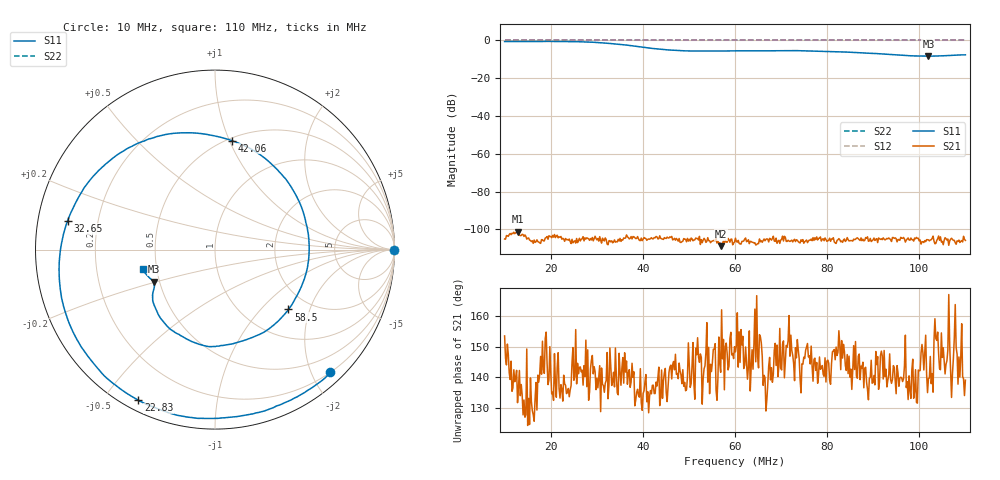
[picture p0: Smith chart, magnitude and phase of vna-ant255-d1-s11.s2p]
! Anritsu VNA Master:  Model: MS2034B/10/19/501
! SN:  1337062
! /bd0/ovro-jan-2016/vna-jan/vna-ant255-d1-s11-reallyd1.s2p
! Existing Calibration Information:
! TYPE:  Current Settings,  Active Cal Settings
! TIME:  01/13/2016 03:23:14 PM,  01/13/2016 02:51:14 PM
! INTERNAL TEMP:  34.5 C,  37.8 C
! # POINTS:  500,  500
! START FREQ:  10.000 MHz,  10.000 MHz
! STOP FREQ:  110.000 MHz,  110.000 MHz
! SOURCE POWER:  High,  High
! IFBW:  100 Hz,  100 Hz
! AVG FACTOR:  4 ,  4
! REF PLANE 1:  0 mm,  0 mm
! REF PLANE 2:  0 mm,  0 mm
! CAL TYPE:  Full S11,  Full S11
! CAL METHOD:  SOLT,  SOLT
! CAL LINE TYPE:  Coax,  Coax
! DUT PORT 1:  K-Conn(M),  K-Conn(M)
! DUT PORT 2:  N-Conn(M),  N-Conn(M)
! CAL STATUS:  OK: Accuracy High,  --
# GHZ S DB R 50.0
! FREQ.GHZ  S11DB  S11A  S21DB  S21A  S12DB  S12A  S22DB  S22A
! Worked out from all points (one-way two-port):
!   500 points, 10 MHz to 110 MHz, reference 50 ohm
!   highest |S21| = -101.30 dB at 12.81 MHz (marker M1); lowest = -108.9 dB at 56.89 MHz (marker M2)
!   lowest |S11| = -8.3 dB at 102 MHz (marker M3), VSWR 2.25, Z = 23.3 - j9.72 ohm
!   |S11| at or under -10 dB: nowhere
!   |S22| runs from 0.0 to 0.0 dB; largest |S21 - S12| = 1
!   S11 on the Smith chart (normalised r, x): 10 MHz: 0.20, -2.29; 22.83 MHz: 0.04, -0.61; 32.65 MHz: 0.09, +0.10; 42.06 MHz: 0.52, +1.02; 58.5 MHz: 1.57, -1.45; 110 MHz: 0.42, -0.11
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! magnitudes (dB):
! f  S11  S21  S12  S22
! 10 MHz  -0.6  -105.1  0.0  0.0
! 12.81 MHz  -0.5  -101.3  0.0  0.0
! 22.83 MHz  -0.5  -105.1  0.0  0.0
! 26.83 MHz  -0.7  -105.0  0.0  0.0
! 29.24 MHz  -1.0  -106.1  0.0  0.0
! 32.65 MHz  -1.5  -106.0  0.0  0.0
! 36.45 MHz  -2.4  -103.0  0.0  0.0
! 42.06 MHz  -4.2  -105.0  0.0  0.0
! 43.47 MHz  -4.6  -104.9  0.0  0.0
! 45.47 MHz  -5.0  -104.5  0.0  0.0
! 49.28 MHz  -5.5  -105.3  0.0  0.0
! 56.89 MHz  -5.6  -108.9  0.0  0.0
! 58.5 MHz  -5.6  -104.8  0.0  0.0
! 60.1 MHz  -5.5  -104.7  0.0  0.0
! 72.32 MHz  -5.3  -105.7  0.0  0.0
! 76.73 MHz  -5.6  -106.0  0.0  0.0
! 84.55 MHz  -6.2  -105.4  0.0  0.0
! 93.37 MHz  -7.3  -104.6  0.0  0.0
! 97.78 MHz  -8.1  -105.6  0.0  0.0
! 102 MHz  -8.3  -105.6  0.0  0.0
! 104.6 MHz  -8.2  -104.0  0.0  0.0
! 110 MHz  -7.6  -105.8  0.0  0.0
